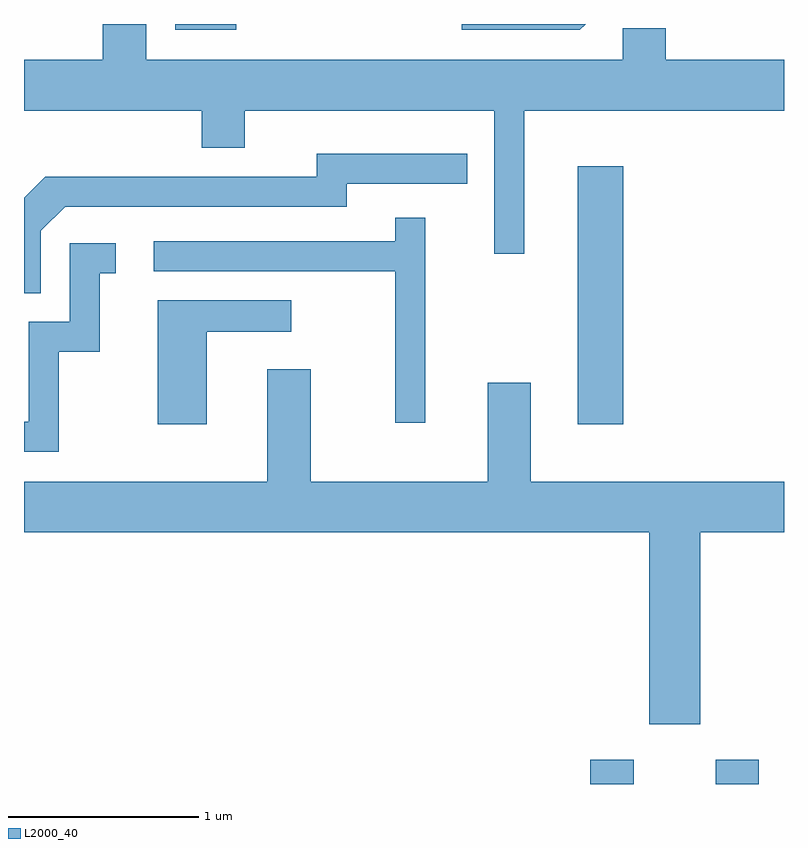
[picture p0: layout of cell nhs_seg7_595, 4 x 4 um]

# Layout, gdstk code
import gdstk
lib = gdstk.Library(unit=1e-6, precision=1e-09)
def R(c, l, rs):  # rectangles x0, y0, x1, y1
    for r in rs: c.add(gdstk.rectangle(r[:2], r[2:], *l))
def P(c, l, *ps):  # polygons
    for p in ps: c.add(gdstk.Polygon(p, *l))
L2000_40 = (2000, 40)

nhs_seg7_595 = lib.new_cell('nhs_seg7_595')
R(nhs_seg7_595, L2000_40, [(204.591,1786.252,204.819,1786.379), (205.251,1786.252,205.479,1786.379), (204.526,1788.146,204.764,1789.504), (202.406,1790.221,202.728,1790.252)])
P(nhs_seg7_595, L2000_40, [(204.244,1789.796),(205.611,1789.796),(205.611,1790.064),(204.989,1790.064),(204.989,1790.229),(204.761,1790.229),(204.761,1790.064),(202.254,1790.064),(202.254,1790.252),(202.026,1790.252),(202.026,1790.064),(201.611,1790.064),(201.611,1789.796),(202.546,1789.796),(202.546,1789.601),(202.774,1789.601),(202.774,1789.796),(204.086,1789.796),(204.086,1789.043),(204.244,1789.043)],
  [(204.568,1790.252),(203.916,1790.252),(203.916,1790.221),(204.537,1790.221)],
  [(201.699,1789.164),(201.827,1789.291),(203.309,1789.291),(203.309,1789.411),(203.943,1789.411),(203.943,1789.569),(203.151,1789.569),(203.151,1789.449),(201.724,1789.449),(201.611,1789.337),(201.611,1788.836),(201.699,1788.836)],
  [(203.724,1789.233),(203.566,1789.233),(203.566,1789.109),(202.293,1789.109),(202.293,1788.951),(203.566,1788.951),(203.566,1788.153),(203.724,1788.153)],
  [(201.794,1788.526),(202.009,1788.526),(202.009,1788.941),(202.093,1788.941),(202.093,1789.099),(201.851,1789.099),(201.851,1788.684),(201.636,1788.684),(201.636,1788.159),(201.611,1788.159),(201.611,1788.001),(201.794,1788.001)],
  [(202.574,1788.631),(203.018,1788.631),(203.018,1788.799),(202.316,1788.799),(202.316,1788.146),(202.574,1788.146)],
  [(205.169,1787.576),(205.611,1787.576),(205.611,1787.844),(204.279,1787.844),(204.279,1788.364),(204.051,1788.364),(204.051,1787.844),(203.119,1787.844),(203.119,1788.434),(202.891,1788.434),(202.891,1787.844),(201.611,1787.844),(201.611,1787.576),(204.901,1787.576),(204.901,1786.566),(205.169,1786.566)])

lib.write_gds('nhs_seg7_595.gds')
